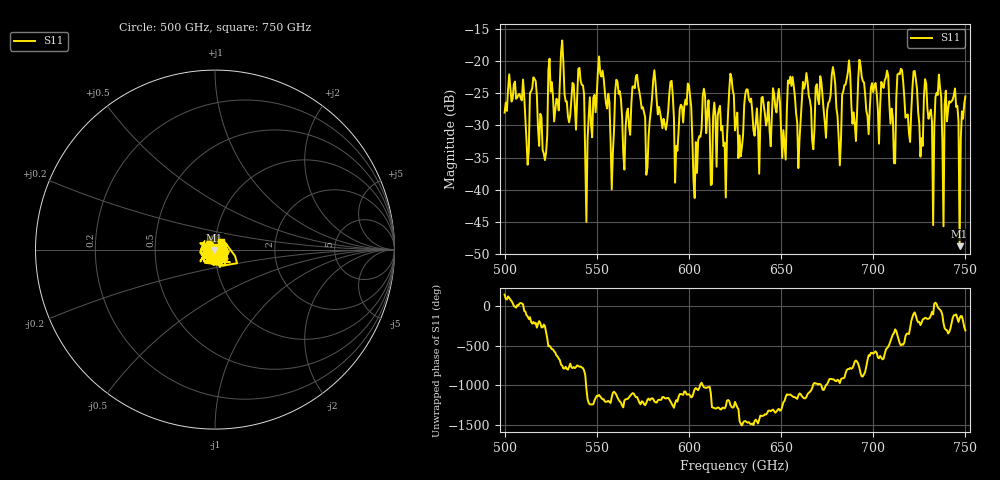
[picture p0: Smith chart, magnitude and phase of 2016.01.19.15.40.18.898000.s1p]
!Created with skrf (http://scikit-rf.org).
# GHz S RI R 50.0
!freq ReS11 ImS11
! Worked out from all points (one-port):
!   401 points, 500 GHz to 750 GHz, reference 50 ohm
!   lowest |S11| = -48.8 dB at 746.9 GHz (marker M1), VSWR 1.01, Z = 49.7 - j0.169 ohm
!   |S11| at or under -10 dB: start of sweep to end of sweep
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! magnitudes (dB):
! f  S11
! 500 GHz  -28.0
! 516.2 GHz  -22.8
! 521.9 GHz  -35.4
! 531.2 GHz  -16.8
! 541.2 GHz  -23.1
! 545 GHz  -32.3
! 551.9 GHz  -21.9
! 558.1 GHz  -39.9
! 562.5 GHz  -24.7
! 577.5 GHz  -36.5
! 590 GHz  -23.2
! 593.8 GHz  -33.9
! 625 GHz  -30.8
! 651.2 GHz  -30.7
! 656.2 GHz  -22.5
! 659.4 GHz  -36.6
! 663.1 GHz  -23.5
! 681.2 GHz  -32.0
! 687.5 GHz  -21.9
! 706.9 GHz  -22.6
! 710.6 GHz  -28.6
! 714.4 GHz  -22.1
! 718.8 GHz  -28.3
! 722.5 GHz  -21.5
! 725.6 GHz  -34.8
! 735.6 GHz  -22.1
! 746.9 GHz  -48.8
! 750 GHz  -25.5
